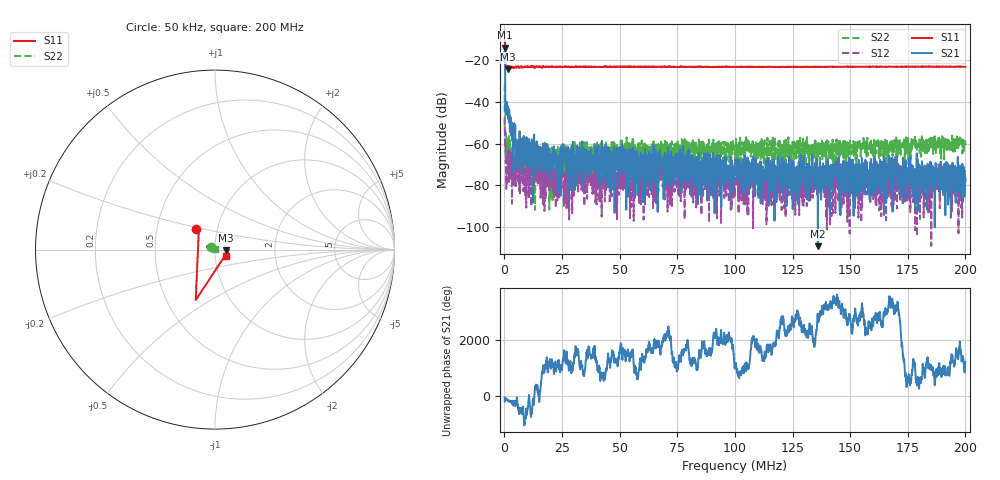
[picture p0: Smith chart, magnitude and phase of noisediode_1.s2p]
! 26-Feb-26 2:02:30 PM
! E:\VNA_MEASUREMENTS\CAL_ENDS\NOISEDIODE_1.S2P
! CHANNEL.1
! TR.MEASUREMENT
! CORRECTED.DATA
# GHZ S RI R 50.0
! FREQ.GHZ  S11RE  S11IM  S21RE  S21IM  S12RE  S12IM  S22RE  S22IM
!; PortSelection: Port_12
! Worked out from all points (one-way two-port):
!   2000 points, 50 kHz to 200 MHz, reference 50 ohm
!   highest |S21| = -13.90 dB at 250 kHz (marker M1); lowest = -109.3 dB at 136 MHz (marker M2)
!   lowest |S11| = -24.3 dB at 1.45 MHz (marker M3), VSWR 1.13, Z = 56.5 - j0.218 ohm
!   |S11| at or under -10 dB: start of sweep to end of sweep
!   |S22| runs from -91.8 to -31.6 dB; largest |S21 - S12| = 0.2
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5e-05  -0.1063 0.1152  0.073 -0.1356  0.00403 0.000319  -0.0236 0.0119
0.00025005  -0.1073 -0.2813  -0.1576 -0.126  4.3e-05 0.000845  -0.000186 -0.00257
0.00145035  0.0609 -0.00193  -0.00568 -0.00105  0.00032 -9.72e-05  0.000381 0.00122
0.004351076  0.0688 -0.00109  0.000305 0.000998  -0.000111 -1.63e-05  0.00152 0.000245
0.005851451  0.0698 -0.000796  0.000638 0.000274  -0.000171 -0.00041  -0.000563 -0.000224
0.01095273  0.0688 -0.00213  0.000384 0.000922  0.000184 0.00015  -4.85e-05 -0.000554
0.01705425  0.071 -0.00252  -0.000332 0.000425  3.86e-05 0.000133  0.000505 -0.000356
0.02015503  0.0701 -0.00407  -9.55e-05 -0.00042  0.00014 -1.68e-05  3.05e-05 3.81e-05
0.02235558  0.0682 -0.0051  -4.32e-05 -0.000117  -0.000215 2.48e-05  0.000532 -0.000288
0.0244561  0.0691 -0.00286  0.000122 -0.000852  6.15e-05 7.2e-06  0.000451 0.000431
0.02625655  0.0713 -0.00553  -0.000182 0.000503  3.4e-05 4.65e-05  -1.02e-05 3.43e-05
0.03345835  0.0703 -0.00624  0.000222 -0.00018  9.15e-05 7.41e-05  0.000725 0.000341
0.06676668  0.069 -0.0124  -0.000324 0.000138  2.87e-05 6.52e-05  0.000928 0.000315
0.100075  0.067 -0.0186  0.000269 -0.000274  0.000156 -0.000156  0.000528 0.000433
0.1218805  0.0647 -0.0226  0.000231 -1.33e-05  -5.67e-05 -2.1e-05  0.000868 0.000832
0.1265816  0.0652 -0.0235  4.76e-05 -2.57e-05  0.000105 -5.27e-05  0.000668 -0.000106
0.1289822  0.0654 -0.0243  -0.000154 5.63e-05  0.000195 -6.91e-05  0.000142 0.000332
0.1333833  0.065 -0.0247  -0.000242 -0.000187  -0.000153 -0.000147  0.000433 0.0005
0.135984  0.065 -0.0257  -3e-07 -3.4e-06  -0.000172 -6.53e-05  0.000554 0.00059
0.1666917  0.0624 -0.0314  4.7e-05 0.00015  0.000223 0.000145  0.000569 0.000689
0.1976994  0.0601 -0.0365  6.22e-05 2.8e-05  8.38e-05 2.51e-05  0.00124 0.000638
0.2  0.06 -0.0366  -9.63e-05 8.27e-05  0.000162 4.69e-05  0.000352 0.000844
